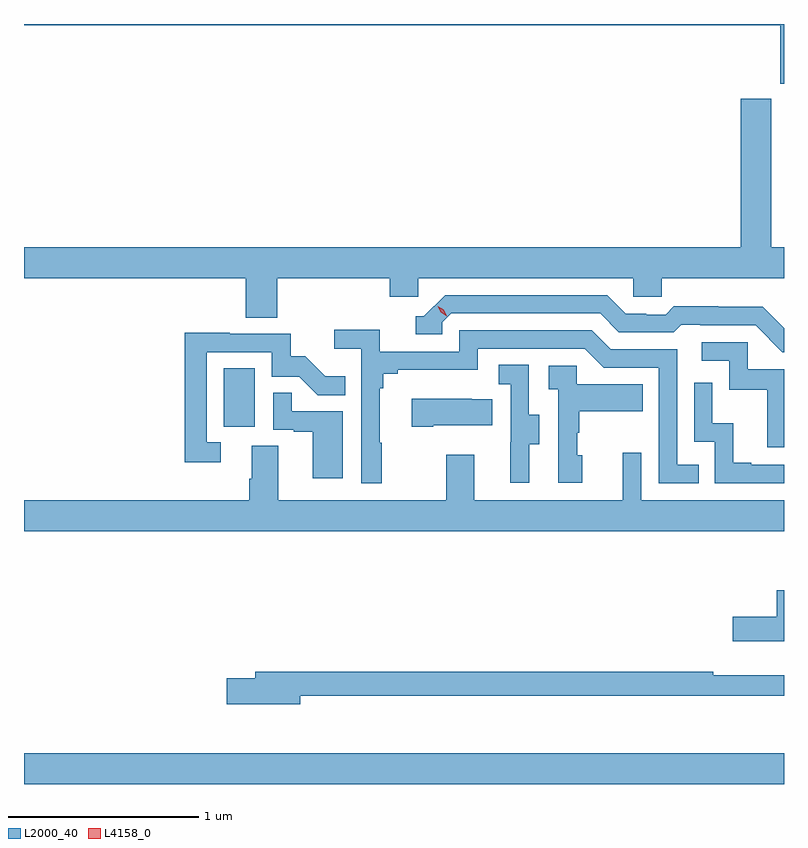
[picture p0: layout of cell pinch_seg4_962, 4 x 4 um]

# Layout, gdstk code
import gdstk
lib = gdstk.Library(unit=1e-6, precision=1e-09)
def R(c, l, rs):  # rectangles x0, y0, x1, y1
    for r in rs: c.add(gdstk.rectangle(r[:2], r[2:], *l))
def P(c, l, *ps):  # polygons
    for p in ps: c.add(gdstk.Polygon(p, *l))
L2000_40 = (2000, 40)
L4158_0 = (4158, 0)

pinch_seg4_962 = lib.new_cell('pinch_seg4_962')
R(pinch_seg4_962, L2000_40, [(875.113,778.174,879.113,778.336), (876.164,780.054,876.328,780.361)])
P(pinch_seg4_962, L2000_40, [(879.113,782.174),(875.113,782.174),(875.113,782.168),(879.092,782.168),(879.092,781.859),(879.113,781.859)],
  [(876.446,780.836),(877.037,780.836),(877.037,780.738),(877.188,780.738),(877.188,780.836),(878.319,780.836),(878.319,780.738),(878.469,780.738),(878.469,780.836),(879.113,780.836),(879.113,781),(879.045,781),(879.045,781.78),(878.885,781.78),(878.885,781),(875.113,781),(875.113,780.836),(876.281,780.836),(876.281,780.628),(876.446,780.628)],
  [(879.113,780.574),(879.002,780.685),(878.766,780.685),(878.766,780.688),(878.533,780.688),(878.491,780.645),(878.388,780.645),(878.388,780.648),(878.281,780.648),(878.182,780.747),(877.329,780.747),(877.218,780.636),(877.175,780.636),(877.175,780.54),(877.314,780.54),(877.314,780.603),(877.362,780.651),(878.145,780.651),(878.244,780.552),(878.533,780.552),(878.572,780.591),(878.671,780.591),(878.671,780.588),(878.964,780.588),(879.105,780.447),(879.113,780.447)],
  [(876.997,779.969),(876.985,779.969),(876.985,780.257),(877.004,780.257),(877.004,780.334),(877.081,780.334),(877.081,780.353),(877.5,780.353),(877.5,780.465),(878.064,780.465),(878.163,780.366),(878.454,780.366),(878.454,779.757),(878.663,779.757),(878.663,779.853),(878.55,779.853),(878.55,780.462),(878.2,780.462),(878.101,780.561),(877.404,780.561),(877.404,780.45),(876.986,780.45),(876.986,780.566),(876.747,780.566),(876.747,780.464),(876.888,780.464),(876.888,779.757),(876.997,779.757)],
  [(876.148,779.973),(876.075,779.973),(876.075,780.447),(876.417,780.447),(876.417,780.318),(876.561,780.318),(876.659,780.22),(876.803,780.22),(876.803,780.319),(876.699,780.319),(876.592,780.426),(876.516,780.426),(876.516,780.543),(876.197,780.543),(876.197,780.548),(875.959,780.548),(875.959,779.868),(876.148,779.868)],
  [(879.113,780.357),(878.922,780.357),(878.922,780.498),(878.679,780.498),(878.679,780.402),(878.826,780.402),(878.826,780.249),(879.025,780.249),(879.025,779.946),(879.113,779.946)],
  [(877.771,779.962),(877.825,779.962),(877.825,780.117),(877.77,780.117),(877.77,780.38),(877.611,780.38),(877.611,780.277),(877.674,780.277),(877.674,779.973),(877.673,779.973),(877.673,779.76),(877.771,779.76)],
  [(878.05,779.904),(878.025,779.904),(878.025,780.023),(878.035,780.023),(878.035,780.137),(878.369,780.137),(878.369,780.277),(878.022,780.277),(878.022,780.375),(877.875,780.375),(877.875,780.251),(877.926,780.251),(877.926,779.76),(878.05,779.76)],
  [(879.113,779.853),(878.941,779.853),(878.941,779.866),(878.846,779.866),(878.846,780.074),(878.736,780.074),(878.736,780.286),(878.64,780.286),(878.64,779.976),(878.748,779.976),(878.748,779.757),(879.113,779.757)],
  [(876.79,780.135),(876.521,780.135),(876.521,780.233),(876.426,780.233),(876.426,780.039),(876.533,780.039),(876.533,780.027),(876.632,780.027),(876.632,779.784),(876.79,779.784)],
  [(877.267,780.062),(877.577,780.062),(877.577,780.199),(877.469,780.199),(877.469,780.202),(877.155,780.202),(877.155,780.055),(877.267,780.055)],
  [(879.113,779.668),(878.361,779.668),(878.361,779.917),(878.264,779.917),(878.264,779.668),(877.483,779.668),(877.483,779.908),(877.336,779.908),(877.336,779.668),(876.451,779.668),(876.451,779.954),(876.311,779.954),(876.311,779.78),(876.299,779.78),(876.299,779.668),(875.113,779.668),(875.113,779.504),(879.113,779.504)],
  [(879.113,779.194),(879.074,779.194),(879.074,779.055),(878.844,779.055),(878.844,778.925),(879.113,778.925)],
  [(876.568,778.638),(879.113,778.638),(879.113,778.747),(878.741,778.747),(878.741,778.766),(876.329,778.766),(876.329,778.73),(876.18,778.73),(876.18,778.595),(876.568,778.595)])
P(pinch_seg4_962, L4158_0, [(877.337,780.637),(877.306,780.656),(877.29,780.688),(877.29,780.688),(877.29,780.688),(877.321,780.669),(877.338,780.637),(877.338,780.637)])

lib.write_gds('pinch_seg4_962.gds')
